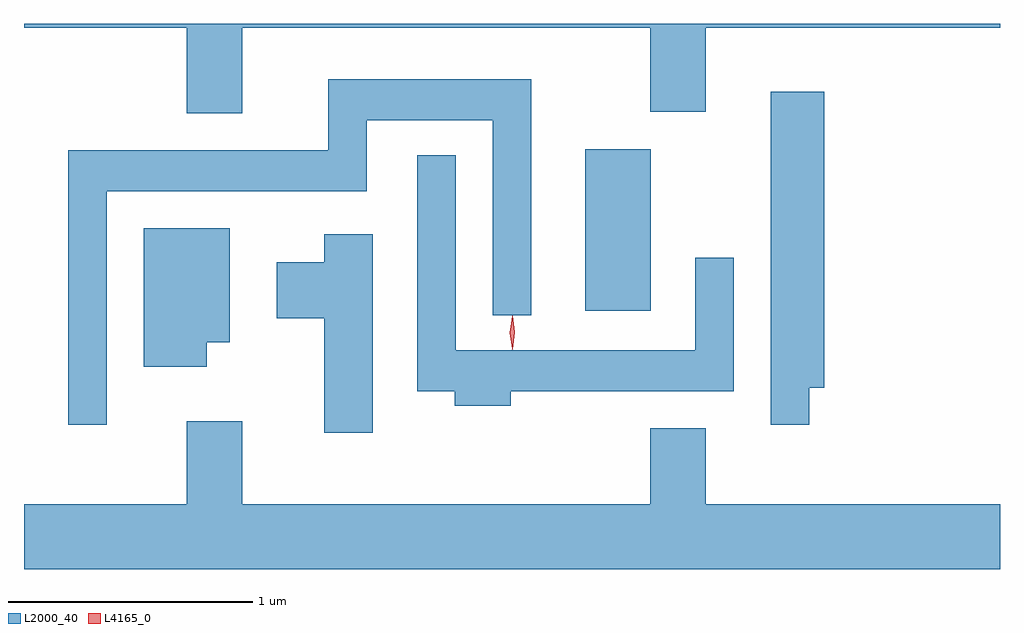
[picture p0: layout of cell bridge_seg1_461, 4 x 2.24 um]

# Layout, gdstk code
import gdstk
lib = gdstk.Library(unit=1e-6, precision=1e-09)
def R(c, l, rs):  # rectangles x0, y0, x1, y1
    for r in rs: c.add(gdstk.rectangle(r[:2], r[2:], *l))
def P(c, l, *ps):  # polygons
    for p in ps: c.add(gdstk.Polygon(p, *l))
L2000_40 = (2000, 40)
L4165_0 = (4165, 0)

bridge_seg1_461 = lib.new_cell('bridge_seg1_461')
R(bridge_seg1_461, L2000_40, [(366.216,860.676,366.484,861.339)])
P(bridge_seg1_461, L2000_40, [(364.809,861.836),(366.481,861.836),(366.481,861.491),(366.709,861.491),(366.709,861.836),(367.915,861.836),(367.915,861.853),(363.915,861.853),(363.915,861.836),(364.581,861.836),(364.581,861.486),(364.809,861.486)],
  [(364.254,861.166),(365.319,861.166),(365.319,861.456),(365.836,861.456),(365.836,860.658),(365.994,860.658),(365.994,861.624),(365.161,861.624),(365.161,861.334),(364.096,861.334),(364.096,860.208),(364.254,860.208)],
  [(367.134,860.361),(367.194,860.361),(367.194,861.574),(366.976,861.574),(366.976,860.208),(367.134,860.208)],
  [(365.909,860.346),(366.824,860.346),(366.824,860.893),(366.666,860.893),(366.666,860.514),(365.684,860.514),(365.684,861.313),(365.526,861.313),(365.526,860.346),(365.681,860.346),(365.681,860.286),(365.909,860.286)],
  [(364.664,860.546),(364.759,860.546),(364.759,861.014),(364.406,861.014),(364.406,860.446),(364.664,860.446)],
  [(365.344,860.989),(365.146,860.989),(365.146,860.874),(364.951,860.874),(364.951,860.646),(365.146,860.646),(365.146,860.176),(365.344,860.176)],
  [(367.915,859.884),(366.709,859.884),(366.709,860.194),(366.481,860.194),(366.481,859.884),(364.809,859.884),(364.809,860.224),(364.581,860.224),(364.581,859.884),(363.915,859.884),(363.915,859.616),(367.915,859.616)])
P(bridge_seg1_461, L4165_0, [(365.917,860.517),(365.916,860.518),(365.907,860.587),(365.916,860.656),(365.917,860.656),(365.918,860.656),(365.927,860.587),(365.918,860.518)],
  [(365.916,860.519),(365.916,860.52),(365.906,860.586),(365.916,860.652),(365.916,860.653),(365.917,860.652),(365.926,860.586),(365.917,860.52)])

lib.write_gds('bridge_seg1_461.gds')
